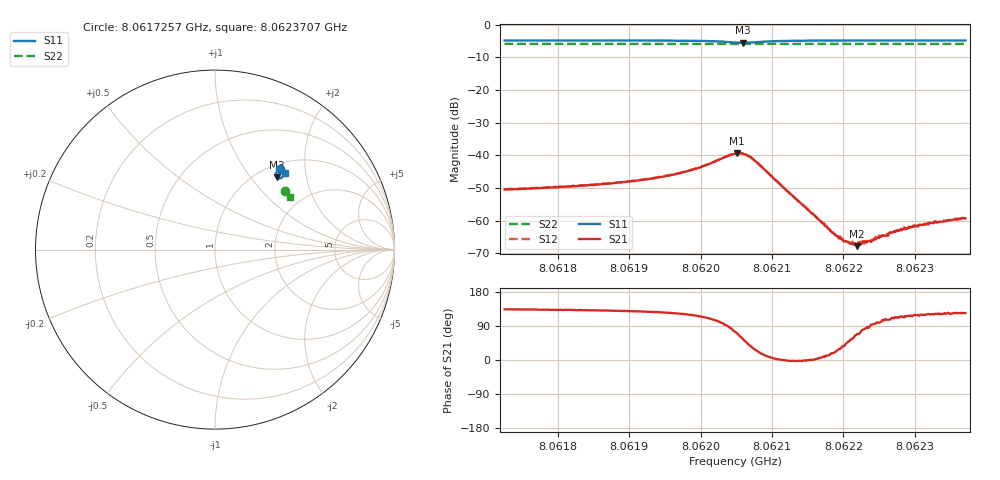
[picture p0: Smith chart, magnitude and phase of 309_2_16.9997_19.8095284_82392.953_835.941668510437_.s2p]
#  HZ  S  RI  R  50.00
! Rohde & Schwarz Vector Network Analyzer
! Rohde-Schwarz,ZNB20-2Port,1311601062101988,3.16
! Created: UTC 3/20/2024, 11:05:56 PM
! freq[Hz]  re:S11  im:S11  re:S21  im:S21  re:S12  im:S12  re:S22  im:S22
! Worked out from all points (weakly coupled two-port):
!   401 points, 8.0617257 GHz to 8.0623707 GHz, reference 50 ohm
!   highest |S21| = -39.28 dB at 8.0620514 GHz (marker M1); lowest = -67.8 dB at 8.0622191 GHz (marker M2)
!   lowest |S11| = -5.5 dB at 8.0620595 GHz (marker M3), VSWR 3.26, Z = 61 + j68.2 ohm
!   |S11| at or under -10 dB: nowhere
!   |S22| runs from -5.9 to -5.8 dB; largest |S21 - S12| = 0.00096
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8.06172569e9  0.3598 0.4496  -0.00208 0.00217  -0.002 0.00232  0.3923 0.3268
8.06183372e9  0.3673 0.4433  -0.00231 0.00257  -0.00214 0.00276  0.3965 0.3215
8.06189016e9  0.3717 0.439  -0.00247 0.00299  -0.00229 0.00316  0.3985 0.3187
8.06194176e9  0.3759 0.4336  -0.00273 0.00373  -0.0025 0.00394  0.4006 0.316
8.06196272e9  0.3779 0.4303  -0.00283 0.00426  -0.00258 0.00448  0.4014 0.315
8.06199175e9  0.3803 0.4237  -0.00286 0.0055  -0.00257 0.00569  0.4025 0.3132
8.06204819e9  0.3608 0.3969  0.00281 0.0102  0.00357 0.01  0.4032 0.3098
8.06205141e9  0.3564 0.3973  0.00377 0.0102  0.00439 0.00999  0.4029 0.3096
8.06205947e9  0.3459 0.4018  0.00612 0.00873  0.00669 0.00834  0.4029 0.3095
8.06207076e9  0.3384 0.4154  0.00754 0.00537  0.00793 0.00489  0.4032 0.3097
8.06207882e9  0.3394 0.4247  0.00708 0.00318  0.00745 0.00276  0.4036 0.3099
8.06215622e9  0.368 0.4383  0.0013 5.51e-06  0.00127 -6e-05  0.4078 0.3064
8.06217396e9  0.3711 0.4371  0.00083 0.000119  0.000889 6.89e-05  0.4085 0.3053
8.06218202e9  0.3722 0.4368  0.000672 0.000191  0.000683 0.000122  0.4087 0.305
8.06219009e9  0.3732 0.4362  0.000536 0.00024  0.000562 0.000183  0.4092 0.3046
8.0622046e9  0.3751 0.4353  0.000337 0.000338  0.000339 0.000313  0.4095 0.3038
8.06221911e9  0.3767 0.4344  0.000148 0.000382  0.000179 0.000371  0.4102 0.303
8.06224169e9  0.3788 0.4329  -3.61e-05 0.000501  3.28e-05 0.000505  0.4109 0.3019
8.06226426e9  0.3808 0.4316  -0.00019 0.000621  -0.000163 0.000633  0.4119 0.3007
8.06229651e9  0.3833 0.4296  -0.000357 0.000739  -0.000331 0.000771  0.413 0.2991
8.06233037e9  0.3858 0.4277  -0.000502 0.00081  -0.000446 0.000815  0.4142 0.2974
8.06237069e9  0.3886 0.4255  -0.000601 0.000896  -0.000588 0.00098  0.4155 0.2952
